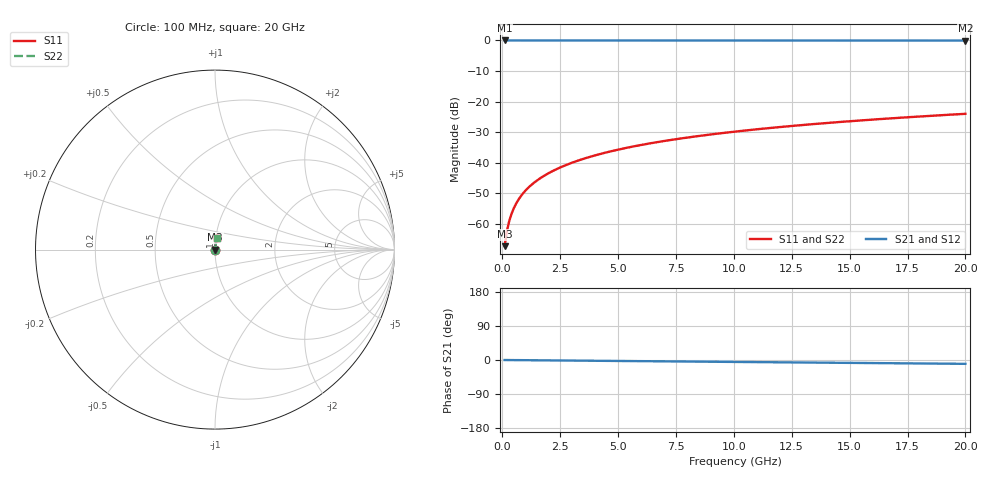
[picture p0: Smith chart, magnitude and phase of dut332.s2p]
! Touchstone file exported from HFSS 2026.1.0
!  File:  C:/ffzhzh/LocalFiles/Ansys_Project_Files/temp_train_TSV_332_1783018596_4048.aedt
!  Generated:  02:58:26 AM Jul  3, 2026
!  Design:  TSV
!  Project:  temp_train_TSV_332_1783018596_4048
! Variables:
!  h_bsmrdl = 2um
!  h_ox = 20um
!  h_rdl = 5um
!  h_sub = 93.57um
!  h_tmrdl = 5um
!  h_tsv = 93.57um
!  h_via = 3um
!  l_bsmrdl = 300um
!  l_sub = 414.6um
!  l_tmrdl = 200um
!  m_sub = 200um
!  pitch = 49.41um
!  r_tsv = 7.3um
!  s_tmrdl = 10um
!  w_bsmrdl = 18um
!  w_sub = 500um
!  w_tmrdl = 12um
!  x_tsv_center1 = 206um
!  x_tsv_center2 = 524um
!  x_tsv_center3 = 736um
!  x_tsv_center4 = 1054um
!  x_tsv_center5 = 1266um
!  x_tsv_center6 = 1584um
# GHz S MA R 50.000000
! Terminal data exported
! Port[1] = TSV1_1_T1
! Port[2] = TSV1_1_T2
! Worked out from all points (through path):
!   200 points, 100 MHz to 20 GHz, reference 50 ohm
!   highest |S21| = 0.00 dB at 100 MHz (marker M1); lowest = 0.0 dB at 20 GHz (marker M2)
!   group delay of S21, straight-line fit = 1.4 ps
!   lowest |S11| = -67.2 dB at 100 MHz (marker M3), VSWR 1.00, Z = 50 + j0.0366 ohm
!   |S11| at or under -10 dB: start of sweep to end of sweep
!   |S22| runs from -67.2 to -24.0 dB; largest |S21 - S12| = 2.2e-15
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0.1  0.000435 57.3  0.9998 -0.1  0.9998 -0.1  0.000435 57.3
! Gamma 0 0 0 0
! Port Impedance 50 0 50 0
0.2  0.0007703 71.3  0.9998 -0.1  0.9998 -0.1  0.0007703 71.3
0.3  0.001122 76.4  0.9997 -0.2  0.9997 -0.2  0.001122 76.4
0.4  0.001474 78.8  0.9997 -0.2  0.9997 -0.2  0.001474 78.8
0.5  0.001824 80.1  0.9997 -0.3  0.9997 -0.3  0.001824 80.1
0.6  0.00217 81.0  0.9997 -0.3  0.9997 -0.3  0.00217 81.0
0.7  0.002511 81.5  0.9996 -0.4  0.9996 -0.4  0.002511 81.5
0.8  0.00285 81.9  0.9996 -0.4  0.9996 -0.4  0.00285 81.9
1  0.003517 82.5  0.9996 -0.5  0.9996 -0.5  0.003517 82.5
1.4  0.00483 83.3  0.9995 -0.7  0.9995 -0.7  0.00483 83.3
1.7  0.005806 83.7  0.9994 -0.9  0.9994 -0.9  0.005806 83.7
2  0.00678 84.0  0.9994 -1.0  0.9994 -1.0  0.00678 84.0
2.7  0.009045 84.4  0.9993 -1.4  0.9993 -1.4  0.009045 84.4
3.5  0.01162 84.5  0.9992 -1.8  0.9992 -1.8  0.01162 84.5
4.2  0.01387 84.4  0.9991 -2.2  0.9991 -2.2  0.01387 84.4
5  0.01643 84.3  0.999 -2.6  0.999 -2.6  0.01643 84.3
6.8  0.02215 83.8  0.9987 -3.5  0.9987 -3.5  0.02215 83.8
8.3  0.02689 83.3  0.9985 -4.2  0.9985 -4.2  0.02689 83.3
10.1  0.03255 82.6  0.9982 -5.1  0.9982 -5.1  0.03255 82.6
13.4  0.04287 81.2  0.9976 -6.8  0.9976 -6.8  0.04287 81.2
16.7  0.05311 79.8  0.997 -8.5  0.997 -8.5  0.05311 79.8
20  0.06324 78.3  0.9962 -10.1  0.9962 -10.1  0.06324 78.3
